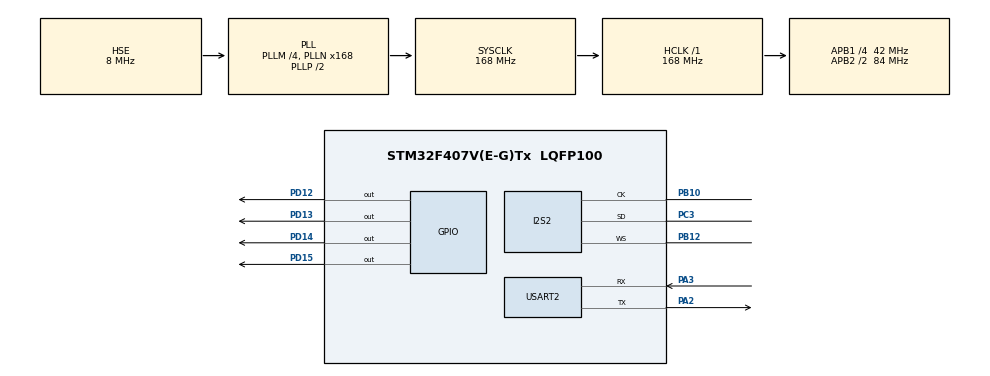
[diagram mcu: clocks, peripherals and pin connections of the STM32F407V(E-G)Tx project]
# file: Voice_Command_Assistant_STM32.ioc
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Dma.Request0=USART2_TX
Dma.Request1=SPI2_RX
Dma.SPI2_RX.1.Direction=DMA_PERIPH_TO_MEMORY
Dma.SPI2_RX.1.FIFOMode=DMA_FIFOMODE_DISABLE
Dma.SPI2_RX.1.Instance=DMA1_Stream3
Dma.SPI2_RX.1.MemDataAlignment=DMA_MDATAALIGN_HALFWORD
Dma.SPI2_RX.1.MemInc=DMA_MINC_ENABLE
Dma.SPI2_RX.1.Mode=DMA_CIRCULAR
Dma.SPI2_RX.1.PeriphDataAlignment=DMA_PDATAALIGN_HALFWORD
Dma.SPI2_RX.1.PeriphInc=DMA_PINC_DISABLE
Dma.SPI2_RX.1.Priority=DMA_PRIORITY_LOW
Dma.USART2_TX.0.Direction=DMA_MEMORY_TO_PERIPH
Dma.USART2_TX.0.FIFOMode=DMA_FIFOMODE_DISABLE
Dma.USART2_TX.0.Instance=DMA1_Stream6
Dma.USART2_TX.0.MemDataAlignment=DMA_MDATAALIGN_BYTE
Dma.USART2_TX.0.MemInc=DMA_MINC_ENABLE
Dma.USART2_TX.0.Mode=DMA_NORMAL
Dma.USART2_TX.0.PeriphDataAlignment=DMA_PDATAALIGN_BYTE
Dma.USART2_TX.0.PeriphInc=DMA_PINC_DISABLE
Dma.USART2_TX.0.Priority=DMA_PRIORITY_LOW
FREERTOS.BinarySemaphores01=DmaTxSem,Dynamic,NULL,Available
FREERTOS.Queues01=LogQueue,10,128,1,Dynamic,NULL,NULL;MfccQueue,16,40,1,Dynamic,NULL,NULL;VolQueue,16,uint16_t,0,Dynamic,NULL,NULL
FREERTOS.Tasks01=defaultTask,24,128,StartDefaultTask,Default,NULL,Dynamic,NULL,NULL;myTaskLed,8,128,StartTaskLed,Default,NULL,Dynamic,NULL,NULL;myTaskAudio,32,512,StartTaskAudio,Default,NULL,Dynamic,NULL,NULL;myTaskLogger,8,128,StartTaskLogger,Default,NULL,Dynamic,NULL,NULL;myTaskAI,16,512,StartTaskAI,Default,NULL,Dynamic,NULL,NULL
FREERTOS.configUSE_NEWLIB_REENTRANT=1
I2S2.AudioFreq=AudioFreqCustomValue
I2S2.AudioFreqCustom=64000
I2S2.ErrorAudioFreq=-0.26 %
I2S2.FullDuplexMode=I2S_FULLDUPLEXMODE_DISABLE
I2S2.Instance=SPI$Index
I2S2.Mode=I2S_MODE_MASTER_RX
I2S2.RealAudioFreq=63.829 KHz
I2S2.Standard=I2S_STANDARD_LSB
I2S2.VirtualMode=I2S_MODE_MASTER
Mcu.Family=STM32F4
Mcu.Name=STM32F407V(E-G)Tx
Mcu.Package=LQFP100
NVIC.DMA1_Stream3_IRQn=true\:5\:0\:false\:false\:true\:true\:false\:true\:true
NVIC.DMA1_Stream6_IRQn=true\:5\:0\:false\:false\:true\:true\:false\:true\:true
NVIC.PriorityGroup=NVIC_PRIORITYGROUP_4
NVIC.TIM6_DAC_IRQn=true\:15\:0\:false\:false\:true\:false\:false\:true\:true
NVIC.TimeBase=TIM6_DAC_IRQn
NVIC.TimeBaseIP=TIM6
NVIC.USART2_IRQn=true\:5\:0\:false\:false\:true\:true\:true\:true\:true
PA2.Mode=Asynchronous
PA2.Signal=USART2_TX
PA3.Mode=Asynchronous
PA3.Signal=USART2_RX
PB10.Mode=Half_Duplex_Master
PB10.Signal=I2S2_CK
PB12.Mode=Half_Duplex_Master
PB12.Signal=I2S2_WS
PC3.Mode=Half_Duplex_Master
PC3.Signal=I2S2_SD
PD12.Signal=GPIO_Output
PD13.Signal=GPIO_Output
PD14.Signal=GPIO_Output
PD15.Signal=GPIO_Output
PH0-OSC_IN.Mode=HSE-External-Oscillator
PH0-OSC_IN.Signal=RCC_OSC_IN
PH1-OSC_OUT.Mode=HSE-External-Oscillator
PH1-OSC_OUT.Signal=RCC_OSC_OUT
ProjectManager.HeapSize=0x200
ProjectManager.StackSize=0x400
ProjectManager.TargetToolchain=STM32CubeIDE
RCC.48MHZClocksFreq_Value=48000000
RCC.AHBFreq_Value=168000000
RCC.APB1CLKDivider=RCC_HCLK_DIV4
RCC.APB1Freq_Value=42000000
RCC.APB1TimFreq_Value=84000000
RCC.APB2CLKDivider=RCC_HCLK_DIV2
RCC.APB2Freq_Value=84000000
RCC.APB2TimFreq_Value=168000000
RCC.CortexFreq_Value=168000000
RCC.HCLKFreq_Value=168000000
RCC.HSE_VALUE=8000000
RCC.HSI_VALUE=16000000
RCC.LSE_VALUE=32768
RCC.PLLM=4
RCC.PLLN=168
RCC.PLLQ=7
RCC.PLLSourceVirtual=RCC_PLLSOURCE_HSE
RCC.SYSCLKFreq_VALUE=168000000
RCC.SYSCLKSource=RCC_SYSCLKSOURCE_PLLCLK
RCC.VCOOutputFreq_Value=336000000
USART2.VirtualMode=VM_ASYNC
VP_CRC_VS_CRC.Mode=CRC_Activate
VP_FREERTOS_VS_CMSIS_V2.Mode=CMSIS_V2
VP_SYS_VS_tim6.Mode=TIM6
board=custom

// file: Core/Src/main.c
/* USER CODE BEGIN Header */
/**
  ******************************************************************************
  * @file           : main.c
  * @brief          : Main program body
  ******************************************************************************
  * @attention
  *
  * Copyright (c) 2026 STMicroelectronics.
  * All rights reserved.
  *
  * This software is licensed under terms that can be found in the LICENSE file
  * in the root directory of this software component.
  * If no LICENSE file comes with this software, it is provided AS-IS.
  *
  ******************************************************************************
  */
/* USER CODE END Header */
#include "main.h"
#include "cmsis_os.h"
#include "crc.h"
#include "dma.h"
#include "i2s.h"
#include "usart.h"
#include "gpio.h"

void SystemClock_Config(void);
void MX_FREERTOS_Init(void);

int main(void)
{

  /* MCU Configuration--------------------------------------------------------*/

  /* Reset of all peripherals, Initializes the Flash interface and the Systick. */
  HAL_Init();

  /* Configure the system clock */
  SystemClock_Config();

  /* Initialize all configured peripherals */
  MX_GPIO_Init();
  MX_DMA_Init();
  MX_USART2_UART_Init();
  MX_I2S2_Init();
  MX_CRC_Init();

  /* Init scheduler */
  osKernelInitialize();

  /* Call init function for freertos objects (in cmsis_os2.c) */
  MX_FREERTOS_Init();

  /* Start scheduler */
  osKernelStart();

  /* We should never get here as control is now taken by the scheduler */

  /* Infinite loop */
  while (1)
  {

  }
}

void SystemClock_Config(void)
{
  RCC_OscInitTypeDef RCC_OscInitStruct = {0};
  RCC_ClkInitTypeDef RCC_ClkInitStruct = {0};

  /** Configure the main internal regulator output voltage
  */
  __HAL_RCC_PWR_CLK_ENABLE();
  __HAL_PWR_VOLTAGESCALING_CONFIG(PWR_REGULATOR_VOLTAGE_SCALE1);

  /** Initializes the RCC Oscillators according to the specified parameters
  * in the RCC_OscInitTypeDef structure.
  */
  RCC_OscInitStruct.OscillatorType = RCC_OSCILLATORTYPE_HSE;
  RCC_OscInitStruct.HSEState = RCC_HSE_ON;
  RCC_OscInitStruct.PLL.PLLState = RCC_PLL_ON;
  RCC_OscInitStruct.PLL.PLLSource = RCC_PLLSOURCE_HSE;
  RCC_OscInitStruct.PLL.PLLM = 4;
  RCC_OscInitStruct.PLL.PLLN = 168;
  RCC_OscInitStruct.PLL.PLLP = RCC_PLLP_DIV2;
  RCC_OscInitStruct.PLL.PLLQ = 7;
  if (HAL_RCC_OscConfig(&RCC_OscInitStruct) != HAL_OK)
  {
    Error_Handler();
  }

  /** Initializes the CPU, AHB and APB buses clocks
  */
  RCC_ClkInitStruct.ClockType = RCC_CLOCKTYPE_HCLK|RCC_CLOCKTYPE_SYSCLK
                              |RCC_CLOCKTYPE_PCLK1|RCC_CLOCKTYPE_PCLK2;
  RCC_ClkInitStruct.SYSCLKSource = RCC_SYSCLKSOURCE_PLLCLK;
  RCC_ClkInitStruct.AHBCLKDivider = RCC_SYSCLK_DIV1;
  RCC_ClkInitStruct.APB1CLKDivider = RCC_HCLK_DIV4;
  RCC_ClkInitStruct.APB2CLKDivider = RCC_HCLK_DIV2;

  if (HAL_RCC_ClockConfig(&RCC_ClkInitStruct, FLASH_LATENCY_5) != HAL_OK)
  {
    Error_Handler();
  }
}

void HAL_TIM_PeriodElapsedCallback(TIM_HandleTypeDef *htim)
{
  if (htim->Instance == TIM6)
  {
    HAL_IncTick();
  }
}

void Error_Handler(void)
{
  __disable_irq();
  while (1)
  {
  }
}

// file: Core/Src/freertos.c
/* USER CODE BEGIN Header */
/**
 ******************************************************************************
 * File Name          : freertos.c
 * Description        : Code for freertos applications
 ******************************************************************************
 * @attention
 *
 * Copyright (c) 2026 STMicroelectronics.
 * All rights reserved.
 *
 * This software is licensed under terms that can be found in the LICENSE file
 * in the root directory of this software component.
 * If no LICENSE file comes with this software, it is provided AS-IS.
 *
 ******************************************************************************
 */
/* USER CODE END Header */

#include "FreeRTOS.h"
#include "cmsis_os.h"
#include "main.h"
#include "task.h"

/* USER CODE BEGIN Includes */
#include "arm_math.h"
#include "logger.h"
#include "mfcc.h"
#include "network.h"
#include "network_data.h"
#include "pdm_filter.h"
#include "stream_buffer.h"
#include "usart.h"
#include <math.h>
#include <stdint.h>
#include <string.h>

/* USER CODE END Includes */

/* USER CODE BEGIN PD */
#define ARM_MATH_CM4
/* USER CODE END PD */

/* USER CODE BEGIN Variables */
extern I2S_HandleTypeDef hi2s2;
uint16_t pdm_rx_buffer[1024];
StreamBufferHandle_t AudioStreamBuf = NULL;

/* ---- STAI Network Buffers ---- */
static int8_t ai_input_buf[STAI_NETWORK_IN_1_HEIGHT * STAI_NETWORK_IN_1_WIDTH];
static int8_t ai_output_buf[STAI_NETWORK_OUT_1_CHANNEL];
static uint8_t ai_activations[STAI_NETWORK_ACTIVATIONS_SIZE_BYTES]
    __attribute__((aligned(4)));
static uint8_t ai_network_ctx[STAI_NETWORK_CONTEXT_SIZE]
    __attribute__((aligned(8)));

/* USER CODE END Variables */
/* Definitions for defaultTask */
osThreadId_t defaultTaskHandle;
const osThreadAttr_t defaultTask_attributes = {
    .name = "defaultTask",
    .stack_size = 128 * 4,
    .priority = (osPriority_t)osPriorityNormal,
};
/* Definitions for myTaskLed */
osThreadId_t myTaskLedHandle;
const osThreadAttr_t myTaskLed_attributes = {
    .name = "myTaskLed",
    .stack_size = 128 * 4,
    .priority = (osPriority_t)osPriorityLow,
};
/* Definitions for myTaskAudio */
osThreadId_t myTaskAudioHandle;
const osThreadAttr_t myTaskAudio_attributes = {
    .name = "myTaskAudio",
    .stack_size = 512 * 4,
    .priority = (osPriority_t)osPriorityAboveNormal,
};
/* Definitions for myTaskLogger */
osThreadId_t myTaskLoggerHandle;
const osThreadAttr_t myTaskLogger_attributes = {
    .name = "myTaskLogger",
    .stack_size = 128 * 4,
    .priority = (osPriority_t)osPriorityLow,
};
/* Definitions for myTaskAI */
osThreadId_t myTaskAIHandle;
const osThreadAttr_t myTaskAI_attributes = {
    .name = "myTaskAI",
    .stack_size = 512 * 4,
    .priority = (osPriority_t)osPriorityBelowNormal,
};
/* Definitions for LogQueue */
osMessageQueueId_t LogQueueHandle;
const osMessageQueueAttr_t LogQueue_attributes = {.name = "LogQueue"};
/* Definitions for MfccQueue */
osMessageQueueId_t MfccQueueHandle;
const osMessageQueueAttr_t MfccQueue_attributes = {.name = "MfccQueue"};
/* Definitions for VolQueue */
osMessageQueueId_t VolQueueHandle;
const osMessageQueueAttr_t VolQueue_attributes = {.name = "VolQueue"};
/* Definitions for DmaTxSem */
osSemaphoreId_t DmaTxSemHandle;
const osSemaphoreAttr_t DmaTxSem_attributes = {.name = "DmaTxSem"};

void StartDefaultTask(void *argument);
void StartTaskLed(void *argument);
void StartTaskAudio(void *argument);
void StartTaskLogger(void *argument);
void StartTaskAI(void *argument);

void MX_FREERTOS_Init(void); /* (MISRA C 2004 rule 8.1) */

void MX_FREERTOS_Init(void) {

  /* Create the semaphores(s) */
  /* creation of DmaTxSem */
  DmaTxSemHandle = osSemaphoreNew(1, 1, &DmaTxSem_attributes);

  /* Create the queue(s) */
  /* creation of LogQueue */
  LogQueueHandle = osMessageQueueNew(10, 128, &LogQueue_attributes);

  /* creation of MfccQueue */
  MfccQueueHandle = osMessageQueueNew(16, 40, &MfccQueue_attributes);

  /* creation of VolQueue */
  VolQueueHandle =
      osMessageQueueNew(16, sizeof(uint16_t), &VolQueue_attributes);

  /* USER CODE BEGIN RTOS_QUEUES */
  /* add queues, ... */
  AudioStreamBuf = xStreamBufferCreate(2048, 1024);
  /* USER CODE END RTOS_QUEUES */

  /* Create the thread(s) */
  /* creation of defaultTask */
  defaultTaskHandle =
      osThreadNew(StartDefaultTask, NULL, &defaultTask_attributes);

  /* creation of myTaskLed */
  myTaskLedHandle = osThreadNew(StartTaskLed, NULL, &myTaskLed_attributes);

  /* creation of myTaskAudio */
  myTaskAudioHandle =
      osThreadNew(StartTaskAudio, NULL, &myTaskAudio_attributes);

  /* creation of myTaskLogger */
  myTaskLoggerHandle =
      osThreadNew(StartTaskLogger, NULL, &myTaskLogger_attributes);

  /* creation of myTaskAI */
  myTaskAIHandle = osThreadNew(StartTaskAI, NULL, &myTaskAI_attributes);

}

void StartDefaultTask(void *argument) {
  /* USER CODE BEGIN StartDefaultTask */

  /* Give the ST-LINK USB-to-Serial bridge 200ms to open its COM port properly
     before we barrage it with text, or else characters get dropped/corrupted.
   */
  osDelay(200);

  if (HAL_I2S_Receive_DMA(&hi2s2, pdm_rx_buffer, 1024) == HAL_OK) {
    printl("I2S DMA started successfully!\r\n");
  }
  /* Infinite loop */
  for (;;) {
    osDelay(1);
  }
  /* USER CODE END StartDefaultTask */
}

void StartTaskLed(void *argument) {
  /* USER CODE BEGIN StartTaskLed */
  for (int i = 0; i < 2; i++) {
    HAL_GPIO_TogglePin(GPIOD, GPIO_PIN_12);
    osDelay(100);
    HAL_GPIO_TogglePin(GPIOD, GPIO_PIN_13);
    osDelay(100);
    HAL_GPIO_TogglePin(GPIOD, GPIO_PIN_14);
    osDelay(100);
    HAL_GPIO_TogglePin(GPIOD, GPIO_PIN_15);
    osDelay(100);
  }
  /* Infinite loop */
  for (;;) {
    osDelay(1);
  }
  /* USER CODE END StartTaskLed */
}

void StartTaskAudio(void *argument) {
  /* USER CODE BEGIN StartTaskAudio */
  PDMFilter_InitStruct Filter = {0};
  /* Wait for 512 words (1024 bytes) from DMA half buffer */
  uint16_t pdm_working_buffer[512];
  uint16_t pcm_output_buffer[16]; // 64 raw PDM words / decimation 64 = 16 PCM
  // samples output

  /* Verified working settings from mic_test calibration */
  Filter.Fs = 16000;
  Filter.LP_HZ = 4000.0f; /* 4000/16000 fraction perfectly maps to a realistic
                             8000Hz Nyquist cutoff on the 32kHz hardware! */
  Filter.HP_HZ = 10.0f;
  Filter.In_MicChannels = 1;
  Filter.Out_MicChannels = 1;
  PDM_Filter_Init(&Filter);
  MFCC_Init();

  /* Fix 1: Delay Audio Start so LED animation can finish cleanly */
  osDelay(1000);

  int16_t print_peak = 0;
  int16_t frame_peak = 0;
  int chunks_since_last_print = 0;

  static int16_t rolling_buffer[256] = {0};
  int samples_collected = 0;

  for (;;) {
    xStreamBufferReceive(AudioStreamBuf, pdm_working_buffer, 1024,
                         osWaitForever);

    /* Process the 512 words as 8 chunks of 64 words */
    for (int chunk = 0; chunk < 8; chunk++) {
      uint16_t pdm_swapped[64];
      for (int i = 0; i < 64; i++) {
        pdm_swapped[i] =
            __builtin_bswap16(pdm_working_buffer[(chunk * 64) + i]);
      }
      PDM_Filter_64_LSB((uint8_t *)pdm_swapped, pcm_output_buffer, 1, &Filter);

      /* Software Decimation: Secure 2:1 sampling isolates pristine 16kHz audio!
       */
      for (int i = 0; i < 8; i++) {
        int16_t s = (int16_t)pcm_output_buffer[i * 2];

        /* Track absolute peaks separately for logger and AI */
        int16_t abs_raw = (s < 0) ? -s : s;
        if (abs_raw > print_peak)
          print_peak = abs_raw;
        if (abs_raw > frame_peak)
          frame_peak = abs_raw;

        /* Directly assign unfiltered pristine raw audio back */
        pcm_output_buffer[i * 2] = s;
      }

      chunks_since_last_print++;
      if (chunks_since_last_print >= 8) {
        chunks_since_last_print = 0;
        if (print_peak > 30) {
          printl("volume:%d\r\n", (int)print_peak);
        }
        print_peak = 0; // Only resets the logger!
      }

      // Feed decimated samples into rolling buffer for MFCC
      for (int i = 0; i < 256 - 8; i++) {
        rolling_buffer[i] = rolling_buffer[i + 8];
      }
      for (int i = 0; i < 8; i++) {
        rolling_buffer[256 - 8 + i] = (int16_t)pcm_output_buffer[i * 2];
      }
      samples_collected += 8;

      if (samples_collected >= 160) {
        float mfcc_output[MFCC_NUM_BANDS];
        MFCC_Compute(rolling_buffer, mfcc_output);

        /* Accurately stream BOTH the ML feature and the isolated VAD peak
         * concurrently */
        osMessageQueuePut(MfccQueueHandle, mfcc_output, 0, 0);
        osMessageQueuePut(VolQueueHandle, &frame_peak, 0, 0);

        frame_peak = 0;
        samples_collected = 0;
      }
    }
  }
  /* USER CODE END StartTaskAudio */
}

void StartTaskLogger(void *argument) {
  /* USER CODE BEGIN StartTaskLogger */
  /* Infinite loop */
  char msgBuffer[128];
  for (;;) {
    if (osMessageQueueGet(LogQueueHandle, msgBuffer, NULL, osWaitForever) ==
        osOK) {
      HAL_UART_Transmit_DMA(&huart2, (uint8_t *)msgBuffer, strlen(msgBuffer));
      osSemaphoreAcquire(DmaTxSemHandle, osWaitForever);
    }
  }
  /* USER CODE END StartTaskLogger */
}

void StartTaskAI(void *argument) {
  /* USER CODE BEGIN StartTaskAI */
  printl("AI Task Booting...\r\n");

  /* Initialize Neural Network */
  stai_network *network = (stai_network *)ai_network_ctx;
  stai_network_init(network);
  stai_ptr act_ptr = (stai_ptr)ai_activations;
  stai_ptr in_ptr = (stai_ptr)ai_input_buf;
  stai_ptr out_ptr = (stai_ptr)ai_output_buf;
  stai_network_set_activations(network, &act_ptr, 1);
  stai_network_set_inputs(network, &in_ptr, 1);
  stai_network_set_outputs(network, &out_ptr, 1);

  /* Initialize history to -80.0f (log-mel silence floor, matching Python
   * baseline) */
  static float
      raw_mel_history[STAI_NETWORK_IN_1_HEIGHT * STAI_NETWORK_IN_1_WIDTH];
  for (int i = 0; i < STAI_NETWORK_IN_1_HEIGHT * STAI_NETWORK_IN_1_WIDTH; i++) {
    raw_mel_history[i] = -80.0f;
  }
  float mfcc_frame[MFCC_NUM_BANDS];

  /* Boot delay: mic hardware generates noise on powerup. The Audio Task keeps
   * filling the queues during this sleep, so we flush both queues afterwards
   * to discard all stale boot-noise frames before the VAD starts. */
  osDelay(2000);
  osMessageQueueReset(MfccQueueHandle);
  osMessageQueueReset(VolQueueHandle);
  printl("AI Task Ready. Listening...\r\n");

/* --- LED State Machine ---
 * LED mapping on STM32F407 Discovery:
 *   PD12 = Green  (word: "up")
 *   PD13 = Orange (word: "go")
 *   PD15 = Blue   (listening / idle)
 */
#define LED_GREEN GPIO_PIN_12
#define LED_ORANGE GPIO_PIN_13
#define LED_BLUE GPIO_PIN_15
#define LED_PORT GPIOD

  /* Turn off all LEDs, then light blue to signal system is listening */
  HAL_GPIO_WritePin(LED_PORT, LED_GREEN | LED_ORANGE | LED_BLUE,
                    GPIO_PIN_RESET);
  HAL_GPIO_WritePin(LED_PORT, LED_BLUE, GPIO_PIN_SET);

  /* LED timer: counts 20ms frames remaining on the current word LED */
  static int led_word_frames_remaining = 0;
#define LED_WORD_FRAMES 250 // 250 * 20ms = 5 seconds

  for (;;) {
    /* Block here — truly 0% CPU during silence */
    if (osMessageQueueGet(MfccQueueHandle, mfcc_frame, NULL, osWaitForever) ==
        osOK) {

      /* Shift history left, insert new frame on the right */
      for (int i = 0; i < (STAI_NETWORK_IN_1_HEIGHT - 1) * MFCC_NUM_BANDS;
           i++) {
        raw_mel_history[i] = raw_mel_history[i + MFCC_NUM_BANDS];
      }
      float *dest =
          raw_mel_history + (STAI_NETWORK_IN_1_HEIGHT - 1) * MFCC_NUM_BANDS;
      for (int b = 0; b < MFCC_NUM_BANDS; b++) {
        dest[b] = mfcc_frame[b];
      }

/* --- VAD Security Guard --- */
#define VAD_IDLE 0
#define VAD_CAPTURING 1
      static int vad_state = VAD_IDLE;
      static int loud_count = 0;
      static int quiet_count = 0;
      static int capture_frame_count = 0;

      static float noise_floor = 0.0f;
      const uint16_t vad_margin = 10;
      const uint16_t vad_min_floor = 20;

      int16_t current_vol = 0;
      /* Synchronously pull the exact volume belonging to THIS mfcc frame */
      osMessageQueueGet(VolQueueHandle, &current_vol, NULL, 0);

      // --- Adaptive Threshold Calc ---
      uint16_t dynamic_threshold = (uint16_t)noise_floor + vad_margin;
      if (dynamic_threshold < vad_min_floor) {
        dynamic_threshold = vad_min_floor; // Hard minimum sensitivity
      }

      static int debug_log_counter = 0;
      debug_log_counter++;
      if (debug_log_counter >= 50) { // 50 frames * 20ms = 1.0 second
        printl("[VAD] Dynamic Threshold: %u (Floor: %d, Vol: %d)\r\n",
               dynamic_threshold, (int)noise_floor, current_vol);
        debug_log_counter = 0;
      }

      if (vad_state == VAD_IDLE) {
        // Track the noise ONLY if we are below the tripwire
        if (current_vol < dynamic_threshold) {
          noise_floor = (noise_floor * 0.95f) + ((float)current_vol * 0.05f);
        }

        if (current_vol >= dynamic_threshold) {
          loud_count++;
          if (loud_count >= 3) {
            vad_state = VAD_CAPTURING;
            printl("\r\n[VAD] Start of word detected...\r\n");
            loud_count = 0;
            quiet_count = 0;
            capture_frame_count = 0;
          }
        } else {
          loud_count = 0;
        }
      } else if (vad_state == VAD_CAPTURING) {
        capture_frame_count++;

        /* End-of-word conditions: 3 quiet frames OR we hit the 900ms overflow
         * limit */
        int timeout_triggered = (capture_frame_count > 50);
        int silence_triggered = 0;

        if (current_vol < dynamic_threshold) {
          quiet_count++;
          if (quiet_count >= 10)
            silence_triggered = 1;
        } else {
          quiet_count = 0;
        }

        if (silence_triggered || timeout_triggered) {
          if (timeout_triggered) {
            printl("[VAD] Max word length hit. Running AI... \r\n");
            // The instant-snap recalibration
            noise_floor = (float)current_vol;
          } else {
            printl("[VAD] End of word detected. Running AI...\r\n");
          }

          /* Z-Score Normalisation across time for each band */
          for (int b = 0; b < MFCC_NUM_BANDS; b++) {
            float sum = 0.0f, sq_sum = 0.0f;
            for (int t = 0; t < STAI_NETWORK_IN_1_HEIGHT; t++) {
              float val = raw_mel_history[t * MFCC_NUM_BANDS + b];
              sum += val;
              sq_sum += val * val;
            }
            float mean = sum / (float)STAI_NETWORK_IN_1_HEIGHT;
            float variance =
                (sq_sum / (float)STAI_NETWORK_IN_1_HEIGHT) - (mean * mean);
            if (variance < 0.0f)
              variance = 0.0f;
            float std = sqrtf(variance);
            if (std < 1e-8f)
              std = 1e-8f;
            for (int t = 0; t < STAI_NETWORK_IN_1_HEIGHT; t++) {
              float val_f32 =
                  (raw_mel_history[t * MFCC_NUM_BANDS + b] - mean) / std;

              /* Quantize float -> INT8 to match STEDGEAI's input tensor format
               */
              int32_t val_s32 =
                  (int32_t)roundf(val_f32 / STAI_NETWORK_IN_1_SCALE) +
                  STAI_NETWORK_IN_1_ZERO_POINT;
              if (val_s32 > 127)
                val_s32 = 127;
              if (val_s32 < -128)
                val_s32 = -128;

              ai_input_buf[t * MFCC_NUM_BANDS + b] = (int8_t)val_s32;
            }
          }

          stai_network_run(network, STAI_MODE_SYNC);

          /* STAI Int8 De-quantization: real = (q - zero_point) * scale */
          float prob_noise =
              (ai_output_buf[0] - STAI_NETWORK_OUT_1_ZERO_POINT) *
              STAI_NETWORK_OUT_1_SCALE;
          float prob_turn_on =
              (ai_output_buf[1] - STAI_NETWORK_OUT_1_ZERO_POINT) *
              STAI_NETWORK_OUT_1_SCALE;
          float prob_unknown =
              (ai_output_buf[2] - STAI_NETWORK_OUT_1_ZERO_POINT) *
              STAI_NETWORK_OUT_1_SCALE;
          float prob_wake_up =
              (ai_output_buf[3] - STAI_NETWORK_OUT_1_ZERO_POINT) *
              STAI_NETWORK_OUT_1_SCALE;

          int pct_noise = (int)(prob_noise * 100);
          int pct_turn_on = (int)(prob_turn_on * 100);
          int pct_unknown = (int)(prob_unknown * 100);
          int pct_wake_up = (int)(prob_wake_up * 100);

          printl(
              "noise:%02d%% turn_on:%02d%% unknown:%02d%% wake_up:%02d%%\r\n",
              pct_noise, pct_turn_on, pct_unknown, pct_wake_up);

          /* --- LED State Machine: drive LEDs based on best prediction --- */
          /* Note: unknown and noise do not trigger LEDs (just like idle) */
          if (pct_wake_up > pct_turn_on && pct_wake_up > pct_noise &&
              pct_wake_up > pct_unknown) {
            /* "wake_up" detected: green LED on, restart 5s timer */
            HAL_GPIO_WritePin(LED_PORT, LED_GREEN | LED_ORANGE | LED_BLUE,
                              GPIO_PIN_RESET);
            HAL_GPIO_WritePin(LED_PORT, LED_GREEN, GPIO_PIN_SET);
            led_word_frames_remaining = LED_WORD_FRAMES;
          } else if (pct_turn_on > pct_wake_up && pct_turn_on > pct_noise &&
                     pct_turn_on > pct_unknown) {
            /* "turn_on" detected: orange LED on, restart 5s timer */
            HAL_GPIO_WritePin(LED_PORT, LED_GREEN | LED_ORANGE | LED_BLUE,
                              GPIO_PIN_RESET);
            HAL_GPIO_WritePin(LED_PORT, LED_ORANGE, GPIO_PIN_SET);
            led_word_frames_remaining = LED_WORD_FRAMES;
          }

          /* Clean slate: Wipe history with perfectly mathematical Silence (-80)
           * for next word */
          for (int i = 0;
               i < STAI_NETWORK_IN_1_HEIGHT * STAI_NETWORK_IN_1_WIDTH; i++) {
            raw_mel_history[i] = -80.0f;
          }

          vad_state = VAD_IDLE;
          quiet_count = 0;
          loud_count = 0;
          capture_frame_count = 0;
        }
      }

      /* --- LED Countdown Tick (runs every 20ms frame) ---
       * Decrements the word-LED timer and restores blue when it expires. */
      if (led_word_frames_remaining > 0) {
        led_word_frames_remaining--;
        if (led_word_frames_remaining == 0) {
          /* Timer expired: turn off word LEDs and restore blue (listening) */
          HAL_GPIO_WritePin(LED_PORT, LED_GREEN | LED_ORANGE, GPIO_PIN_RESET);
          HAL_GPIO_WritePin(LED_PORT, LED_BLUE, GPIO_PIN_SET);
        }
      }
    }
  }
  /* USER CODE END StartTaskAI */
}

/* USER CODE BEGIN Application */
void HAL_UART_TxCpltCallback(UART_HandleTypeDef *huart) {
  if (huart->Instance == USART2) {
    osSemaphoreRelease(DmaTxSemHandle);
  }
}

void HAL_I2S_RxHalfCpltCallback(I2S_HandleTypeDef *hi2s) {
  if (hi2s->Instance == SPI2) {
    BaseType_t xHigherPriorityTaskWoken = pdFALSE;
    xStreamBufferSendFromISR(AudioStreamBuf, &pdm_rx_buffer[0], 1024,
                             &xHigherPriorityTaskWoken);
    portYIELD_FROM_ISR(xHigherPriorityTaskWoken);
  }
}

void HAL_I2S_RxCpltCallback(I2S_HandleTypeDef *hi2s) {
  if (hi2s->Instance == SPI2) {
    BaseType_t xHigherPriorityTaskWoken = pdFALSE;
    xStreamBufferSendFromISR(AudioStreamBuf, &pdm_rx_buffer[512], 1024,
                             &xHigherPriorityTaskWoken);
    portYIELD_FROM_ISR(xHigherPriorityTaskWoken);
  }
}
/* USER CODE END Application */
